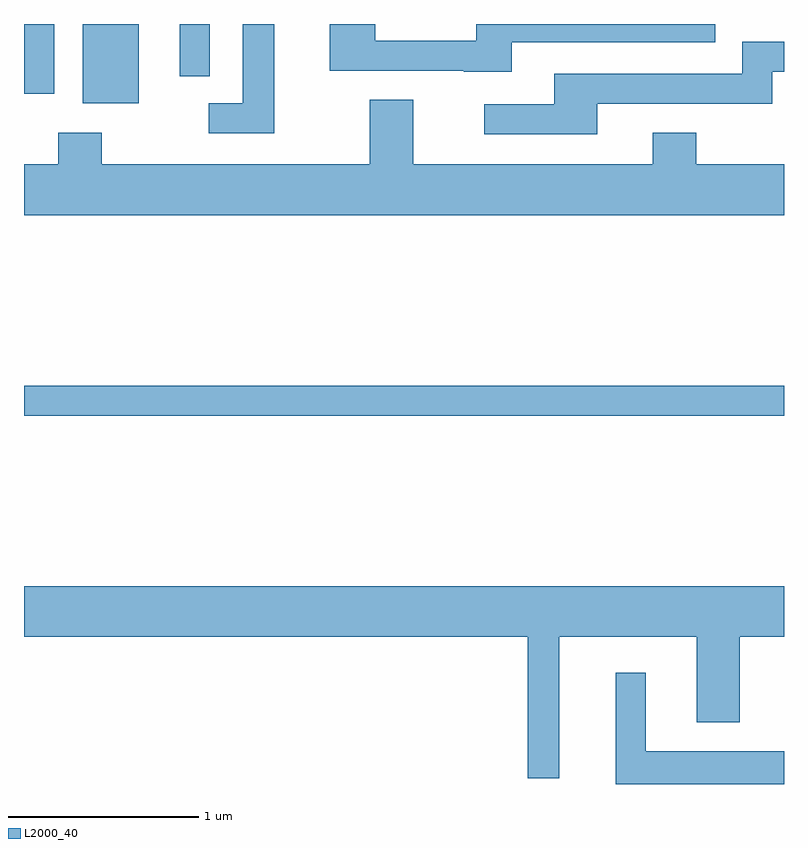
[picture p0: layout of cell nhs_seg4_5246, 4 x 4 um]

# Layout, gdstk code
import gdstk
lib = gdstk.Library(unit=1e-6, precision=1e-09)
def R(c, l, rs):  # rectangles x0, y0, x1, y1
    for r in rs: c.add(gdstk.rectangle(r[:2], r[2:], *l))
def P(c, l, *ps):  # polygons
    for p in ps: c.add(gdstk.Polygon(p, *l))
L2000_40 = (2000, 40)

nhs_seg4_5246 = lib.new_cell('nhs_seg4_5246')
R(nhs_seg4_5246, L2000_40, [(339.611,1275.921,343.611,1276.079), (339.921,1277.566,340.214,1277.982), (339.611,1277.616,339.769,1277.982), (340.431,1277.708,340.589,1277.982)])
P(nhs_seg4_5246, L2000_40, [(340.929,1277.982),(340.761,1277.982),(340.761,1277.564),(340.583,1277.564),(340.583,1277.406),(340.929,1277.406)],
  [(342.179,1277.886),(343.248,1277.886),(343.248,1277.982),(341.991,1277.982),(341.991,1277.894),(341.459,1277.894),(341.459,1277.982),(341.221,1277.982),(341.221,1277.736),(341.925,1277.736),(341.925,1277.731),(342.179,1277.731)],
  [(342.629,1277.561),(343.549,1277.561),(343.549,1277.731),(343.611,1277.731),(343.611,1277.889),(343.391,1277.889),(343.391,1277.719),(342.401,1277.719),(342.401,1277.559),(342.033,1277.559),(342.033,1277.401),(342.629,1277.401)],
  [(343.611,1277.244),(343.149,1277.244),(343.149,1277.409),(342.921,1277.409),(342.921,1277.244),(341.659,1277.244),(341.659,1277.584),(341.431,1277.584),(341.431,1277.244),(340.019,1277.244),(340.019,1277.409),(339.791,1277.409),(339.791,1277.244),(339.611,1277.244),(339.611,1276.976),(343.611,1276.976)],
  [(339.611,1274.756),(342.261,1274.756),(342.261,1274.013),(342.429,1274.013),(342.429,1274.756),(343.151,1274.756),(343.151,1274.306),(343.379,1274.306),(343.379,1274.756),(343.611,1274.756),(343.611,1275.024),(339.611,1275.024)],
  [(343.611,1274.154),(342.884,1274.154),(342.884,1274.568),(342.726,1274.568),(342.726,1273.982),(343.611,1273.982)])

lib.write_gds('nhs_seg4_5246.gds')
